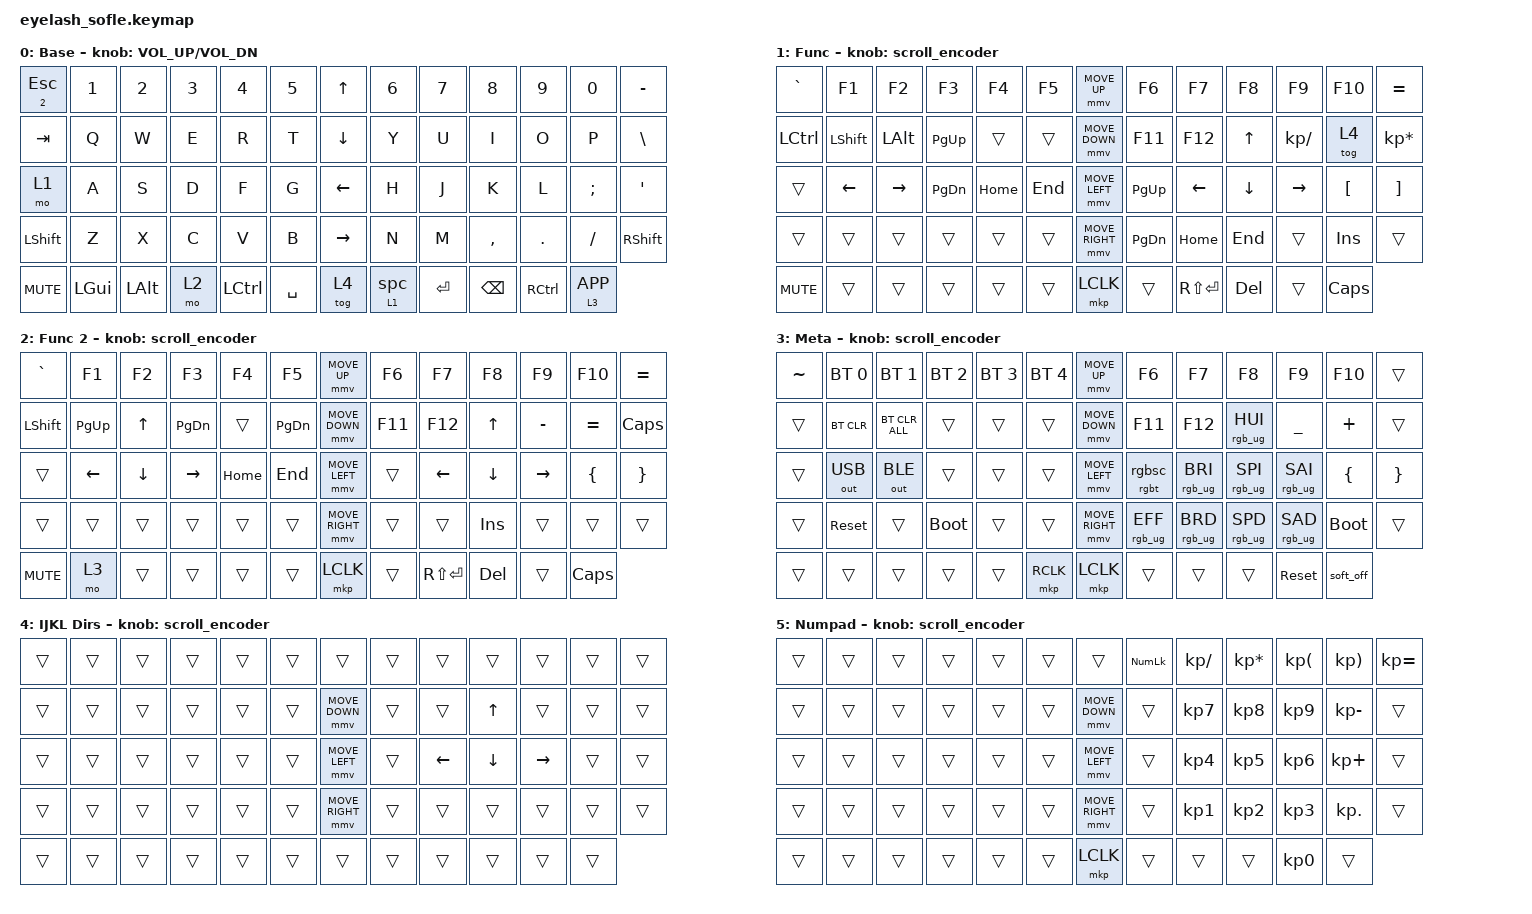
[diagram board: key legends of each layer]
#define ZMK_POINTING_DEFAULT_MOVE_VAL 1200  // 600
#define ZMK_POINTING_DEFAULT_SCRL_VAL 25   // 10

#include <input/processors.dtsi>
#include <zephyr/dt-bindings/input/input-event-codes.h>
#include <behaviors.dtsi>
#include <dt-bindings/zmk/bt.h>
#include <dt-bindings/zmk/ext_power.h>
#include <dt-bindings/zmk/keys.h>
#include <dt-bindings/zmk/pointing.h>
#include <dt-bindings/zmk/rgb.h>
#include <dt-bindings/zmk/outputs.h>

&mmv_input_listener { input-processors = <&zip_xy_scaler 2 1>; };

&msc_input_listener { input-processors = <&zip_scroll_scaler 2 1>; };

&msc {
    acceleration-exponent = <1>;      // 0
    time-to-max-speed-ms = <100>;       // 300
    delay-ms = <0>;                   // 0
};

&mmv {
    time-to-max-speed-ms = <500>;
    acceleration-exponent = <1>;
    trigger-period-ms = <16>;
};


/ {
    macros {
        lcmx: lctrl_mx {
                compatible = "zmk,behavior-macro-one-param";
                wait-ms = <0>;
                tap-ms = <0>;
                #binding-cells = <1>;
                bindings
                    = <&macro_press &kp LCTRL>
                    , <&macro_param_1to1>
                    , <&macro_press &mo MACRO_PLACEHOLDER>
                    , <&macro_pause_for_release>
                    , <&macro_param_1to1>
                    , <&macro_release &mo MACRO_PLACEHOLDER>
                    , <&macro_release &kp LCTRL>
                    ;
            };
        lm: lm {
            compatible = "zmk,behavior-macro-two-param";
            wait-ms = <0>;
            tap-ms = <0>;
            #binding-cells = <2>;
            bindings
                = <&macro_param_1to1>
                , <&macro_press &mo MACRO_PLACEHOLDER>
                , <&macro_param_2to1>
                , <&macro_press &kp MACRO_PLACEHOLDER>
                , <&macro_pause_for_release>
                , <&macro_param_2to1>
                , <&macro_release &kp MACRO_PLACEHOLDER>
                , <&macro_param_1to1>
                , <&macro_release &mo MACRO_PLACEHOLDER>
                ;
        };
        rgbt: rgbtog {
                compatible = "zmk,behavior-macro";
                #binding-cells = <0>;
                bindings = <&rgb_ug RGB_TOG>;
            };
        rgbsc: rgbsetcolor {
            compatible = "zmk,behavior-macro";
            #binding-cells = <0>;
            bindings = <&rgb_ug RGB_COLOR_HSB(255,100,100)>;
        };
        kpesc: kp_escape {
            compatible = "zmk,behavior-macro";
            #binding-cells = <0>;
            bindings = <&kp ESC>;
        };
        spc: kp_space {
            compatible = "zmk,behavior-macro";
            #binding-cells = <0>;
            bindings = <&kp SPACE>;
        };

    };

    combos {
        compatible = "zmk,combos";
        cmb_np {
            timeout-ms = <50>;
            key-positions = <62 63>; // Right CTRL + K_APP/L3
            bindings = <&tog 5>;
        };
    };

    behaviors {
        lcmo: lctrl_mo {
            compatible = "zmk,behavior-hold-tap";
            #binding-cells = <2>;
            flavor = "hold-preferred";
            tapping-term-ms = <140>;
            bindings = <&lcmx>, <&kp>;
            display-name = "LM Ctrl";
        };
        spmo: space_mo {
            compatible = "zmk,behavior-hold-tap";
            #binding-cells = <2>;
            flavor = "hold-preferred";
            tapping-term-ms = <140>;
            bindings = <&mo>, <&spc>;
            display-name = "Space Layer Hold-Tap";
        };
        rgbht: rgb_tap_hold {
            compatible = "zmk,behavior-hold-tap";
            #binding-cells = <2>;
            flavor = "hold-preferred";
            tapping-term-ms = <140>;
            bindings = <&rgbt>, <&rgbsc>;
            display-name = "RGB Hold-Tap";
        };
    };

    scroll_encoder: scroll_encoder {
        compatible = "zmk,behavior-sensor-rotate";
        #sensor-binding-cells = <0>;
        bindings = <&msc SCRL_DOWN>, <&msc SCRL_UP>;
        tap-ms = <100>;
    };


    keymap {
        compatible = "zmk,keymap";

        layer0 {
            bindings = <
&lcmo 2 ESC &kp N1     &kp N2        &kp N3        &kp N4  &kp N5       &kp UP     &kp N6     &kp N7     &kp N8     &kp N9           &kp N0      &kp MINUS
&kp TAB     &kp Q      &kp W         &kp E         &kp R   &kp T        &kp DOWN   &kp Y      &kp U      &kp I      &kp O            &kp P       &kp BSLH
&mo 1       &kp A      &kp S         &kp D         &kp F   &kp G        &kp LEFT   &kp H      &kp J      &kp K      &kp L            &kp SEMI    &kp APOS
&kp LSHFT   &kp Z      &kp X         &kp C         &kp V   &kp B        &kp RIGHT  &kp N      &kp M      &kp COMMA  &kp DOT          &kp FSLH    &kp RSHFT
&kp C_MUTE  &kp LGUI   &kp LEFT_ALT  &mo 2         &kp LCTRL   &kp SPACE    &tog 4    &spmo 1 0  &kp ENTER  &kp BSPC      &kp RCTRL     &lt 3 K_APP
            >;

            sensor-bindings = <&inc_dec_kp C_VOLUME_UP C_VOL_DN>;
            display-name = "Base";
        };

        layer_1 {
            bindings = <
&kp GRAVE   &kp F1           &kp F2          &kp F3           &kp F4           &kp F5             &mmv MOVE_UP     &kp F6           &kp F7           &kp F8      &kp F9     &kp F10           &kp EQUAL
&kp LCTRL   &kp LSHFT        &kp LALT        &kp PG_UP        &trans           &trans             &mmv MOVE_DOWN   &kp F11          &kp F12          &kp UP      &kp KP_DIVIDE  &tog 4        &kp KP_MULTIPLY
&trans      &kp LEFT         &kp RIGHT       &kp PG_DN        &kp HOME         &kp END            &mmv MOVE_LEFT   &kp PG_UP        &kp LEFT         &kp DOWN    &kp RIGHT  &kp LBKT          &kp RBKT
&trans      &trans           &trans          &trans           &trans           &trans             &mmv MOVE_RIGHT  &kp PG_DN        &kp HOME         &kp END     &trans     &kp INSERT        &trans
&kp C_MUTE  &trans           &trans          &trans           &trans           &trans             &mkp LCLK        &trans           &kp RS(ENTER)    &kp DEL      &trans     &kp CAPS
            >;

            sensor-bindings = <&scroll_encoder>;
            display-name = "Func";
        };



        layer_2 {
            bindings = <
&kp GRAVE   &kp F1           &kp F2          &kp F3           &kp F4           &kp F5             &mmv MOVE_UP     &kp F6           &kp F7           &kp F8      &kp F9     &kp F10           &kp EQUAL
&kp LSHFT   &kp PG_UP        &kp UP          &kp PG_DN        &trans           &kp PG_DN          &mmv MOVE_DOWN   &kp F11          &kp F12          &kp UP      &kp MINUS  &kp EQUAL         &kp CAPS
&trans      &kp LEFT         &kp DOWN        &kp RIGHT        &kp HOME         &kp END            &mmv MOVE_LEFT   &trans           &kp LEFT         &kp DOWN    &kp RIGHT  &kp LBRC          &kp RBRC
&trans      &trans           &trans          &trans           &trans           &trans             &mmv MOVE_RIGHT  &trans           &trans           &kp INSERT  &trans     &trans            &trans
&kp C_MUTE  &mo 3            &trans          &trans           &trans           &trans             &mkp LCLK        &trans           &kp RS(ENTER)      &kp DEL     &trans     &kp CAPS
            >;

            sensor-bindings = <&scroll_encoder>;
            display-name = "Func 2";
        };

        layer_3 {
            bindings = <
&kp TILDE  &bt BT_SEL 0     &bt BT_SEL 1     &bt BT_SEL 2     &bt BT_SEL 3     &bt BT_SEL 4     &mmv MOVE_UP     &kp F6           &kp F7           &kp F8           &kp F9           &kp F10      &trans
&trans     &bt BT_CLR       &bt BT_CLR_ALL   &trans           &trans           &trans           &mmv MOVE_DOWN   &kp F11          &kp F12          &rgb_ug RGB_HUI  &kp UNDER        &kp PLUS     &trans
&trans     &out OUT_USB     &out OUT_BLE     &trans           &trans           &trans           &mmv MOVE_LEFT   &rgbht 0 0       &rgb_ug RGB_BRI  &rgb_ug RGB_SPI  &rgb_ug RGB_SAI  &kp LBRC     &kp RBRC
&trans     &sys_reset       &trans           &bootloader      &trans           &trans           &mmv MOVE_RIGHT  &rgb_ug RGB_EFF  &rgb_ug RGB_BRD  &rgb_ug RGB_SPD  &rgb_ug RGB_SAD  &bootloader  &trans
&trans     &trans           &trans           &trans           &trans           &mkp RCLK        &mkp LCLK        &trans           &trans           &trans           &sys_reset       &soft_off
            >;

            sensor-bindings = <&scroll_encoder>;
            display-name = "Meta";
        };

        layer_4 {
            bindings = <
&trans     &trans           &trans           &trans           &trans           &trans           &trans           &trans           &trans           &trans           &trans           &trans       &trans
&trans     &trans           &trans           &trans           &trans           &trans           &mmv MOVE_DOWN   &trans           &trans           &kp UP           &trans           &trans       &trans
&trans     &trans           &trans           &trans           &trans           &trans           &mmv MOVE_LEFT   &trans           &kp LEFT         &kp DOWN         &kp RIGHT        &trans       &trans
&trans     &trans           &trans           &trans           &trans           &trans           &mmv MOVE_RIGHT  &trans           &trans           &trans           &trans           &trans       &trans
&trans     &trans           &trans           &trans           &trans           &trans           &trans        &trans           &trans           &trans           &trans           &trans
            >;

            sensor-bindings = <&scroll_encoder>;
            display-name = "IJKL Dirs";
        };

        layer_5 {
            bindings = <
&trans     &trans           &trans           &trans           &trans           &trans           &trans           &kp KP_NUM       &kp KP_DIVIDE    &kp KP_MULTIPLY  &kp KP_LPAR      &kp KP_RPAR      &kp KP_EQUAL
&trans     &trans           &trans           &trans           &trans           &trans           &mmv MOVE_DOWN   &trans           &kp KP_N7        &kp KP_N8        &kp KP_N9        &kp KP_MINUS     &trans
&trans     &trans           &trans           &trans           &trans           &trans           &mmv MOVE_LEFT   &trans           &kp KP_N4        &kp KP_N5        &kp KP_N6        &kp KP_PLUS      &trans
&trans     &trans           &trans           &trans           &trans           &trans           &mmv MOVE_RIGHT  &trans           &kp KP_N1        &kp KP_N2        &kp KP_N3        &kp KP_DOT       &trans
&trans     &trans           &trans           &trans           &trans           &trans           &mkp LCLK        &trans           &trans           &trans           &kp KP_N0        &trans
            >;

            sensor-bindings = <&scroll_encoder>;
            display-name = "Numpad";
        };

    };
};
